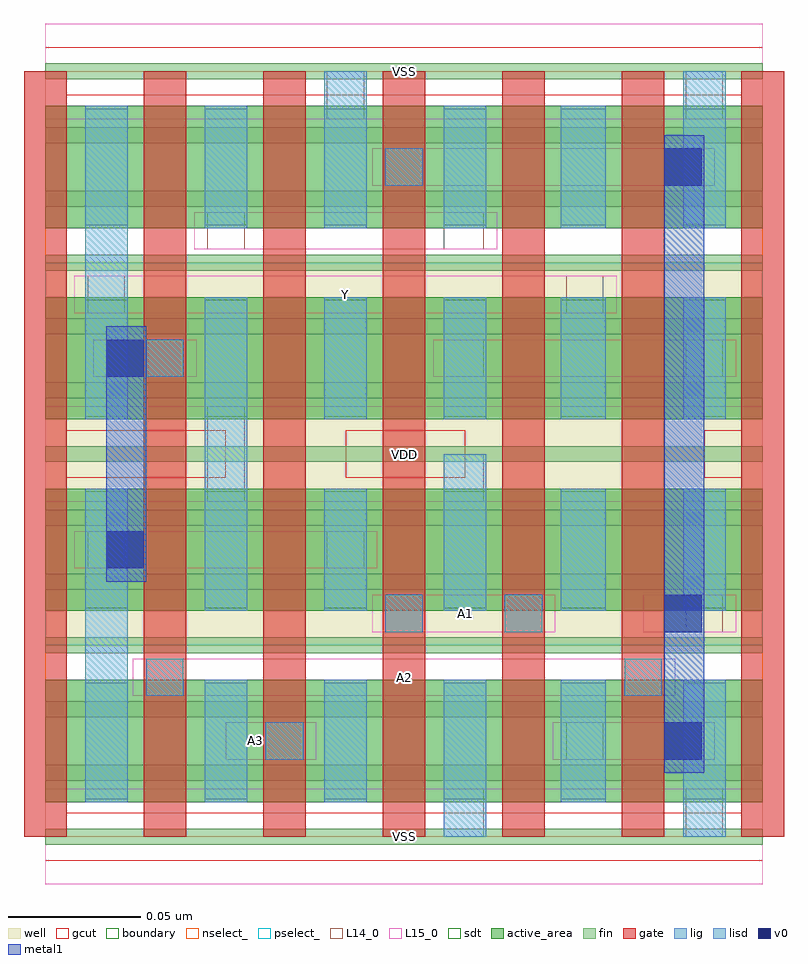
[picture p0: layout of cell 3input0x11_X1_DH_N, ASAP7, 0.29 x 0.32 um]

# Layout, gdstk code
import gdstk
lib = gdstk.Library(unit=1e-6, precision=1e-09)
def R(c, l, rs):  # rectangles x0, y0, x1, y1
    for r in rs: c.add(gdstk.rectangle(r[:2], r[2:], *l))
def A(c, l, x, y, w, h, nx, ny, dx, dy):  # array of equal rectangles
    R(c, l, [(x+i*dx, y+j*dy, x+i*dx+w, y+j*dy+h) for i in range(nx) for j in range(ny)])
def P(c, l, *ps):  # polygons
    for p in ps: c.add(gdstk.Polygon(p, *l))
well = (1, 0)
fin = (2, 0)
gate = (7, 0)
gcut = (10, 0)
active_area = (11, 0)
nselect_ = (12, 0)
pselect_ = (13, 0)
L14_0 = (14, 0)
L15_0 = (15, 0)
lig = (16, 0)
lisd = (17, 0)
v0 = (18, 0)
metal1 = (19, 0)
sdt = (88, 0)
boundary = (100, 0)

c_3input0x11_x1_dh_n = lib.new_cell('3input0x11_X1_DH_N')
R(c_3input0x11_x1_dh_n, well, [(0,0.072,0.27,0.144), (0,0.144,0.27,0.216)])
A(c_3input0x11_x1_dh_n, fin, 0, -0.003, 0.27, 0.006, 1, 13, 0, 0.024)
A(c_3input0x11_x1_dh_n, gate, -0.008, 0, 0.016, 0.288, 7, 1, 0.045, 0)
R(c_3input0x11_x1_dh_n, gcut, [(0.113,0.135,0.158,0.153)])
P(c_3input0x11_x1_dh_n, gcut, [(0,-0.009),(0,0),(-0.008,0),(-0.008,0.279),(0.008,0.279),(0.008,0.153),(0.068,0.153),(0.068,0.135),(0.008,0.135),(0.008,0.009),(0.262,0.009),(0.262,0.135),(0.248,0.135),(0.248,0.153),(0.262,0.153),(0.262,0.279),(-0.008,0.279),(-0.008,0.288),(0,0.288),(0,0.297),(0.27,0.297),(0.27,0.288),(0.278,0.288),(0.278,0),(0.27,0),(0.27,-0.009)])
A(c_3input0x11_x1_dh_n, active_area, 0, 0.013, 0.27, 0.046, 1, 4, 0, 0.072)
R(c_3input0x11_x1_dh_n, nselect_, [(0,0,0.27,0.072), (0,0.216,0.27,0.288)])
R(c_3input0x11_x1_dh_n, pselect_, [(0,0.072,0.27,0.144), (0,0.144,0.27,0.216)])
R(c_3input0x11_x1_dh_n, L14_0, [(0.15,0,0.165,0.018), (0.241,0,0.255,0.018), (0.083,0.029,0.097,0.043), (0.196,0.029,0.21,0.043), (0.038,0.053,0.052,0.067), (0.218,0.053,0.232,0.067), (0.128,0.077,0.142,0.091), (0.173,0.077,0.187,0.091), (0.241,0.077,0.255,0.091), (0.016,0.101,0.03,0.115), (0.106,0.101,0.12,0.115), (0.061,0.126,0.075,0.144), (0.15,0.126,0.165,0.144), (0.061,0.144,0.075,0.162), (0.038,0.173,0.052,0.187), (0.15,0.173,0.165,0.187), (0.241,0.173,0.255,0.187), (0.016,0.197,0.03,0.211), (0.196,0.197,0.21,0.211), (0.061,0.221,0.075,0.235), (0.15,0.221,0.165,0.235), (0.128,0.245,0.142,0.259), (0.106,0.27,0.12,0.288), (0.241,0.27,0.255,0.288)])
A(c_3input0x11_x1_dh_n, L15_0, 0, -0.018, 0.27, 0.036, 1, 3, 0, 0.144)
R(c_3input0x11_x1_dh_n, L15_0, [(0.068,0.029,0.102,0.043), (0.191,0.029,0.252,0.043), (0.033,0.053,0.237,0.067), (0.123,0.077,0.192,0.091), (0.225,0.077,0.26,0.091), (0.011,0.101,0.125,0.115), (0.018,0.173,0.057,0.187), (0.146,0.173,0.26,0.187), (0.011,0.197,0.215,0.211), (0.056,0.221,0.17,0.235), (0.123,0.245,0.252,0.259)])
R(c_3input0x11_x1_dh_n, lig, [(0.083,0.029,0.097,0.043), (0.038,0.053,0.052,0.067), (0.218,0.053,0.232,0.067), (0.128,0.077,0.142,0.091), (0.173,0.077,0.187,0.091), (0.038,0.173,0.052,0.187), (0.128,0.245,0.142,0.259)])
A(c_3input0x11_x1_dh_n, lisd, 0.105, 0.013, 0.016, 0.046, 1, 3, 0, 0.072)
A(c_3input0x11_x1_dh_n, lisd, 0.194, 0.013, 0.017, 0.046, 1, 4, 0, 0.072)
R(c_3input0x11_x1_dh_n, lisd, [(0.15,0,0.166,0.059), (0.24,0,0.256,0.059), (0.015,0.013,0.031,0.131), (0.06,0.013,0.076,0.059), (0.06,0.085,0.076,0.203), (0.15,0.085,0.166,0.144), (0.24,0.085,0.256,0.131), (0.015,0.157,0.031,0.275), (0.15,0.157,0.166,0.203), (0.24,0.157,0.256,0.203), (0.06,0.229,0.076,0.275), (0.105,0.229,0.121,0.288), (0.15,0.229,0.166,0.275), (0.24,0.229,0.256,0.288)])
R(c_3input0x11_x1_dh_n, v0, [(0.233,0.029,0.247,0.043), (0.233,0.077,0.247,0.091), (0.023,0.101,0.037,0.115), (0.023,0.173,0.037,0.187), (0.233,0.245,0.247,0.259)])
R(c_3input0x11_x1_dh_n, metal1, [(0.233,0.024,0.248,0.264), (0.023,0.096,0.038,0.192)])
A(c_3input0x11_x1_dh_n, sdt, 0.015, 0.014, 0.016, 0.044, 4, 4, 0.045, 0.072)
A(c_3input0x11_x1_dh_n, sdt, 0.194, 0.014, 0.017, 0.044, 1, 4, 0, 0.072)
A(c_3input0x11_x1_dh_n, sdt, 0.24, 0.014, 0.016, 0.044, 1, 4, 0, 0.072)
R(c_3input0x11_x1_dh_n, boundary, [(0,0,0.27,0.288)])
c_3input0x11_x1_dh_n.add(gdstk.Label('A1', (0.158,0.084), layer=15, texttype=251))
c_3input0x11_x1_dh_n.add(gdstk.Label('VSS', (0.135,0), layer=15, texttype=251))
c_3input0x11_x1_dh_n.add(gdstk.Label('VDD', (0.135,0.144), layer=15, texttype=251))
c_3input0x11_x1_dh_n.add(gdstk.Label('VDD', (0.135,0.144), layer=15, texttype=251))
c_3input0x11_x1_dh_n.add(gdstk.Label('VSS', (0.135,0.288), layer=15, texttype=251))
c_3input0x11_x1_dh_n.add(gdstk.Label('A3', (0.079,0.036), layer=15, texttype=251))
c_3input0x11_x1_dh_n.add(gdstk.Label('VSS', (0.135,0), layer=15, texttype=251))
c_3input0x11_x1_dh_n.add(gdstk.Label('VDD', (0.135,0.144), layer=15, texttype=251))
c_3input0x11_x1_dh_n.add(gdstk.Label('VDD', (0.135,0.144), layer=15, texttype=251))
c_3input0x11_x1_dh_n.add(gdstk.Label('VSS', (0.135,0.288), layer=15, texttype=251))
c_3input0x11_x1_dh_n.add(gdstk.Label('Y', (0.113,0.204), layer=15, texttype=251))
c_3input0x11_x1_dh_n.add(gdstk.Label('VSS', (0.135,0), layer=15, texttype=251))
c_3input0x11_x1_dh_n.add(gdstk.Label('VDD', (0.135,0.144), layer=15, texttype=251))
c_3input0x11_x1_dh_n.add(gdstk.Label('VDD', (0.135,0.144), layer=15, texttype=251))
c_3input0x11_x1_dh_n.add(gdstk.Label('VSS', (0.135,0.288), layer=15, texttype=251))
c_3input0x11_x1_dh_n.add(gdstk.Label('A2', (0.135,0.06), layer=15, texttype=251))
c_3input0x11_x1_dh_n.add(gdstk.Label('VSS', (0.135,0), layer=15, texttype=251))
c_3input0x11_x1_dh_n.add(gdstk.Label('VDD', (0.135,0.144), layer=15, texttype=251))
c_3input0x11_x1_dh_n.add(gdstk.Label('VDD', (0.135,0.144), layer=15, texttype=251))
c_3input0x11_x1_dh_n.add(gdstk.Label('VSS', (0.135,0.288), layer=15, texttype=251))
c_3input0x11_x1_dh_n.add(gdstk.Label('VSS', (0.135,0), layer=3, texttype=251))
c_3input0x11_x1_dh_n.add(gdstk.Label('VSS', (0.135,0.288), layer=3, texttype=251))
c_3input0x11_x1_dh_n.add(gdstk.Label('VSS', (0.135,0), layer=3, texttype=251))
c_3input0x11_x1_dh_n.add(gdstk.Label('VSS', (0.135,0.288), layer=3, texttype=251))
c_3input0x11_x1_dh_n.add(gdstk.Label('VSS', (0.135,0), layer=3, texttype=251))
c_3input0x11_x1_dh_n.add(gdstk.Label('VSS', (0.135,0.288), layer=3, texttype=251))
c_3input0x11_x1_dh_n.add(gdstk.Label('VSS', (0.135,0), layer=3, texttype=251))
c_3input0x11_x1_dh_n.add(gdstk.Label('VSS', (0.135,0.288), layer=3, texttype=251))
c_3input0x11_x1_dh_n.add(gdstk.Label('VDD', (0.135,0.144), layer=1, texttype=251))
c_3input0x11_x1_dh_n.add(gdstk.Label('VDD', (0.135,0.144), layer=1, texttype=251))
c_3input0x11_x1_dh_n.add(gdstk.Label('VDD', (0.135,0.144), layer=1, texttype=251))
c_3input0x11_x1_dh_n.add(gdstk.Label('VDD', (0.135,0.144), layer=1, texttype=251))
c_3input0x11_x1_dh_n.add(gdstk.Label('VDD', (0.135,0.144), layer=1, texttype=251))
c_3input0x11_x1_dh_n.add(gdstk.Label('VDD', (0.135,0.144), layer=1, texttype=251))
c_3input0x11_x1_dh_n.add(gdstk.Label('VDD', (0.135,0.144), layer=1, texttype=251))
c_3input0x11_x1_dh_n.add(gdstk.Label('VDD', (0.135,0.144), layer=1, texttype=251))

lib.write_gds('3input0x11_X1_DH_N.gds')
